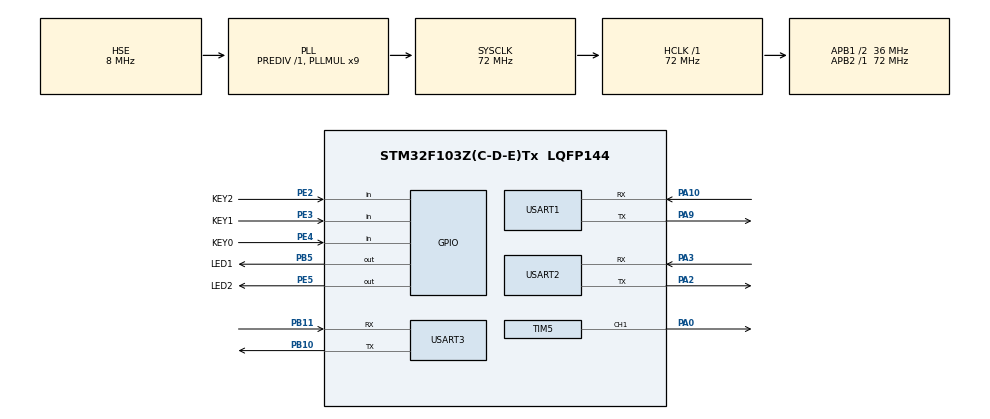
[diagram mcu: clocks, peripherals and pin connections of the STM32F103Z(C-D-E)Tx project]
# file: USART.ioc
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FREERTOS.Tasks01=Init_Task,2,128,Init_Function,Default,NULL,Dynamic,NULL,NULL;LED_Task,-3,128,LED_Function,Default,NULL,Dynamic,NULL,NULL;myTaskKEY,-3,128,StartTaskKEY,Default,NULL,Dynamic,NULL,NULL;myTaskPWM,-3,128,StartTaskPWM,Default,NULL,Dynamic,NULL,NULL
Mcu.Family=STM32F1
Mcu.Name=STM32F103Z(C-D-E)Tx
Mcu.Package=LQFP144
NVIC.PriorityGroup=NVIC_PRIORITYGROUP_4
NVIC.TIM1_UP_IRQn=true\:15\:0\:true\:false\:true\:false\:false\:true
NVIC.TIM3_IRQn=true\:5\:0\:true\:false\:true\:true\:true\:true
NVIC.TIM4_IRQn=true\:6\:0\:true\:false\:true\:true\:true\:true
NVIC.TIM5_IRQn=true\:5\:0\:false\:false\:true\:true\:true\:true
NVIC.TimeBase=TIM1_UP_IRQn
NVIC.TimeBaseIP=TIM1
NVIC.USART1_IRQn=true\:5\:0\:true\:false\:true\:true\:true\:true
NVIC.USART2_IRQn=true\:5\:0\:true\:false\:true\:true\:true\:true
NVIC.USART3_IRQn=true\:5\:0\:false\:false\:true\:true\:true\:true
OSC_IN.Mode=HSE-External-Oscillator
OSC_IN.Signal=RCC_OSC_IN
OSC_OUT.Mode=HSE-External-Oscillator
OSC_OUT.Signal=RCC_OSC_OUT
PA0-WKUP.Signal=S_TIM5_CH1
PA10.Mode=Asynchronous
PA10.Signal=USART1_RX
PA13.Mode=Serial_Wire
PA13.Signal=SYS_JTMS-SWDIO
PA14.Mode=Serial_Wire
PA14.Signal=SYS_JTCK-SWCLK
PA2.Mode=Asynchronous
PA2.Signal=USART2_TX
PA3.Mode=Asynchronous
PA3.Signal=USART2_RX
PA9.Mode=Asynchronous
PA9.Signal=USART1_TX
PB10.Mode=Asynchronous
PB10.Signal=USART3_TX
PB11.Mode=Asynchronous
PB11.Signal=USART3_RX
PB5.GPIO_Label=LED1
PB5.PinState=GPIO_PIN_SET
PB5.Signal=GPIO_Output
PE2.GPIO_Label=KEY2
PE2.GPIO_PuPd=GPIO_PULLUP
PE2.Signal=GPIO_Input
PE3.GPIO_Label=KEY1
PE3.GPIO_PuPd=GPIO_PULLUP
PE3.Signal=GPIO_Input
PE4.GPIO_Label=KEY0
PE4.GPIO_PuPd=GPIO_PULLUP
PE4.Signal=GPIO_Input
PE5.GPIO_Label=LED2
PE5.PinState=GPIO_PIN_SET
PE5.Signal=GPIO_Output
ProjectManager.HeapSize=0x200
ProjectManager.StackSize=0x400
ProjectManager.TargetToolchain=MDK-ARM V5.32
RCC.AHBFreq_Value=72000000
RCC.APB1CLKDivider=RCC_HCLK_DIV2
RCC.APB1Freq_Value=36000000
RCC.APB1TimFreq_Value=72000000
RCC.APB2Freq_Value=72000000
RCC.APB2TimFreq_Value=72000000
RCC.HCLKFreq_Value=72000000
RCC.PLLMUL=RCC_PLL_MUL9
RCC.PLLSourceVirtual=RCC_PLLSOURCE_HSE
RCC.SYSCLKFreq_VALUE=72000000
RCC.SYSCLKSource=RCC_SYSCLKSOURCE_PLLCLK
RCC.USBFreq_Value=72000000
SH.S_TIM5_CH1.0=TIM5_CH1,PWM Generation1 CH1
TIM3.AutoReloadPreload=TIM_AUTORELOAD_PRELOAD_ENABLE
TIM3.Period=4999
TIM3.Prescaler=7199
TIM4.AutoReloadPreload=TIM_AUTORELOAD_PRELOAD_ENABLE
TIM4.Period=9999
TIM4.Prescaler=7199
TIM5.AutoReloadPreload=TIM_AUTORELOAD_PRELOAD_ENABLE
TIM5.Channel-PWM\ Generation1\ CH1=TIM_CHANNEL_1
TIM5.OCFastMode_PWM-PWM\ Generation1\ CH1=TIM_OCFAST_DISABLE
TIM5.OCPolarity_1=TIM_OCPOLARITY_LOW
TIM5.Period=500-1
TIM5.Prescaler=72-1
USART1.VirtualMode=VM_ASYNC
USART2.VirtualMode=VM_ASYNC
USART3.VirtualMode=VM_ASYNC
VP_FREERTOS_VS_CMSIS_V1.Mode=CMSIS_V1
VP_SYS_VS_tim1.Mode=TIM1
VP_TIM3_VS_ClockSourceINT.Mode=Internal
VP_TIM4_VS_ClockSourceINT.Mode=Internal
VP_TIM5_VS_ClockSourceINT.Mode=Internal
board=custom

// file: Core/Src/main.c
/* USER CODE BEGIN Header */
/**
  ******************************************************************************
  * @file           : main.c
  * @brief          : Main program body
  ******************************************************************************
  * @attention
  *
  * Copyright (c) 2023 STMicroelectronics.
  * All rights reserved.
  *
  * This software is licensed under terms that can be found in the LICENSE file
  * in the root directory of this software component.
  * If no LICENSE file comes with this software, it is provided AS-IS.
  *
  ******************************************************************************
  */
/* USER CODE END Header */
#include "main.h"
#include "cmsis_os.h"
#include "tim.h"
#include "usart.h"
#include "gpio.h"

void SystemClock_Config(void);
void MX_FREERTOS_Init(void);

int main(void)
{

  /* MCU Configuration--------------------------------------------------------*/

  /* Reset of all peripherals, Initializes the Flash interface and the Systick. */
  HAL_Init();

  /* Configure the system clock */
  SystemClock_Config();

  /* Initialize all configured peripherals */
  MX_GPIO_Init();
  MX_USART1_UART_Init();
  MX_USART2_UART_Init();
  MX_USART3_UART_Init();
  MX_TIM3_Init();
  MX_TIM4_Init();
  MX_TIM5_Init();
  /* USER CODE BEGIN 2 */
	/*使能定时器3、4中断*/
    HAL_TIM_Base_Start_IT(&htim3);
    HAL_TIM_Base_Start_IT(&htim4);
	HAL_TIM_PWM_Start(&htim5,TIM_CHANNEL_1);	//使能TIM1的PWM Channel1 输出
  /* USER CODE END 2 */

  /* Call init function for freertos objects (in freertos.c) */
  MX_FREERTOS_Init();
  /* Start scheduler */
  osKernelStart();

  /* We should never get here as control is now taken by the scheduler */
  /* Infinite loop */
  while (1)
  {

  }
}

void SystemClock_Config(void)
{
  RCC_OscInitTypeDef RCC_OscInitStruct = {0};
  RCC_ClkInitTypeDef RCC_ClkInitStruct = {0};

  /** Initializes the RCC Oscillators according to the specified parameters
  * in the RCC_OscInitTypeDef structure.
  */
  RCC_OscInitStruct.OscillatorType = RCC_OSCILLATORTYPE_HSE;
  RCC_OscInitStruct.HSEState = RCC_HSE_ON;
  RCC_OscInitStruct.HSEPredivValue = RCC_HSE_PREDIV_DIV1;
  RCC_OscInitStruct.HSIState = RCC_HSI_ON;
  RCC_OscInitStruct.PLL.PLLState = RCC_PLL_ON;
  RCC_OscInitStruct.PLL.PLLSource = RCC_PLLSOURCE_HSE;
  RCC_OscInitStruct.PLL.PLLMUL = RCC_PLL_MUL9;
  if (HAL_RCC_OscConfig(&RCC_OscInitStruct) != HAL_OK)
  {
    Error_Handler();
  }
  /** Initializes the CPU, AHB and APB buses clocks
  */
  RCC_ClkInitStruct.ClockType = RCC_CLOCKTYPE_HCLK|RCC_CLOCKTYPE_SYSCLK
                              |RCC_CLOCKTYPE_PCLK1|RCC_CLOCKTYPE_PCLK2;
  RCC_ClkInitStruct.SYSCLKSource = RCC_SYSCLKSOURCE_PLLCLK;
  RCC_ClkInitStruct.AHBCLKDivider = RCC_SYSCLK_DIV1;
  RCC_ClkInitStruct.APB1CLKDivider = RCC_HCLK_DIV2;
  RCC_ClkInitStruct.APB2CLKDivider = RCC_HCLK_DIV1;

  if (HAL_RCC_ClockConfig(&RCC_ClkInitStruct, FLASH_LATENCY_2) != HAL_OK)
  {
    Error_Handler();
  }
}

void HAL_TIM_PeriodElapsedCallback(TIM_HandleTypeDef *htim)
{
  if (htim->Instance == TIM1) {
    HAL_IncTick();
  }
  /* USER CODE BEGIN Callback 1 */
  if (htim->Instance == TIM3)
  {
	 u1_printf("time3\r\n");
  }

  if (htim->Instance == TIM4)
  {
	 u1_printf("time4\r\n");
  }
  /* USER CODE END Callback 1 */
}

void Error_Handler(void)
{
  __disable_irq();
  while (1)
  {
  }
}

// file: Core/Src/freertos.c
/* USER CODE BEGIN Header */
/**
  ******************************************************************************
  * File Name          : freertos.c
  * Description        : Code for freertos applications
  ******************************************************************************
  * @attention
  *
  * Copyright (c) 2023 STMicroelectronics.
  * All rights reserved.
  *
  * This software is licensed under terms that can be found in the LICENSE file
  * in the root directory of this software component.
  * If no LICENSE file comes with this software, it is provided AS-IS.
  *
  ******************************************************************************
  */
/* USER CODE END Header */

#include "FreeRTOS.h"
#include "task.h"
#include "main.h"
#include "cmsis_os.h"

/* USER CODE BEGIN Variables */
uint16_t pwm_value=0;   //PWM占空比
/* USER CODE END Variables */
osThreadId Init_TaskHandle;
osThreadId LED_TaskHandle;
osThreadId myTaskKEYHandle;
osThreadId myTaskPWMHandle;

void Init_Function(void const * argument);
void LED_Function(void const * argument);
void StartTaskKEY(void const * argument);
void StartTaskPWM(void const * argument);

void MX_FREERTOS_Init(void); /* (MISRA C 2004 rule 8.1) */

/* GetIdleTaskMemory prototype (linked to static allocation support) */
void vApplicationGetIdleTaskMemory( StaticTask_t **ppxIdleTaskTCBBuffer, StackType_t **ppxIdleTaskStackBuffer, uint32_t *pulIdleTaskStackSize );

/* USER CODE BEGIN GET_IDLE_TASK_MEMORY */
static StaticTask_t xIdleTaskTCBBuffer;
static StackType_t xIdleStack[configMINIMAL_STACK_SIZE];

void vApplicationGetIdleTaskMemory( StaticTask_t **ppxIdleTaskTCBBuffer, StackType_t **ppxIdleTaskStackBuffer, uint32_t *pulIdleTaskStackSize )
{
  *ppxIdleTaskTCBBuffer = &xIdleTaskTCBBuffer;
  *ppxIdleTaskStackBuffer = &xIdleStack[0];
  *pulIdleTaskStackSize = configMINIMAL_STACK_SIZE;
  /* place for user code */
}
/* USER CODE END GET_IDLE_TASK_MEMORY */

void MX_FREERTOS_Init(void) {

  /* Create the thread(s) */
  /* definition and creation of Init_Task */
  osThreadDef(Init_Task, Init_Function, osPriorityHigh, 0, 128);
  Init_TaskHandle = osThreadCreate(osThread(Init_Task), NULL);

  /* definition and creation of LED_Task */
  osThreadDef(LED_Task, LED_Function, osPriorityIdle, 0, 128);
  LED_TaskHandle = osThreadCreate(osThread(LED_Task), NULL);

  /* definition and creation of myTaskKEY */
  osThreadDef(myTaskKEY, StartTaskKEY, osPriorityIdle, 0, 128);
  myTaskKEYHandle = osThreadCreate(osThread(myTaskKEY), NULL);

  /* definition and creation of myTaskPWM */
  osThreadDef(myTaskPWM, StartTaskPWM, osPriorityIdle, 0, 128);
  myTaskPWMHandle = osThreadCreate(osThread(myTaskPWM), NULL);

}

void Init_Function(void const * argument)
{
  /* USER CODE BEGIN Init_Function */
  /* Infinite loop */
  for(;;)
  {
		taskENTER_CRITICAL(); //进入临界区
		HAL_UART_Receive_IT(&huart1, (uint8_t *)&aRxBuffer, 1);   //再开启接收中断

		vTaskDelete(NULL);
		taskEXIT_CRITICAL();            //退出临界区
  }
  /* USER CODE END Init_Function */
}

void LED_Function(void const * argument)
{
  /* USER CODE BEGIN LED_Function */
  /* Infinite loop */
  for(;;)
  {
		if(led_flag==1)
		{
			LED1=0;
			osDelay(500);
			LED1=1;
			osDelay(500);
			u1_printf("led1\r\n");
			u2_printf("22222\r\n");
			u3_printf("33333\r\n");
		}
		else if(led_flag==2)
		{
			LED2_ON();
			HAL_Delay(500);
			LED2_OFF();
			HAL_Delay(500);
			u1_printf("led2\r\n");
		}
    osDelay(1);
  }
  /* USER CODE END LED_Function */
}

void StartTaskKEY(void const * argument)
{
  /* USER CODE BEGIN StartTaskKEY */
  /* Infinite loop */
  for(;;)
  {
	  uint8_t key=KEY_Scan();
	  if(key)
	  {
		  if(key==1)
		  {
			  led_flag=1;
		  }
		  else if(key==2)
		  {
			  led_flag=2;
		  }
	  }
    osDelay(1);
  }
  /* USER CODE END StartTaskKEY */
}

void StartTaskPWM(void const * argument)
{
  /* USER CODE BEGIN StartTaskPWM */
  /* Infinite loop */
  for(;;)
  {
	  while (pwm_value < 500)
	  {
		  pwm_value++;
		  __HAL_TIM_SetCompare(&htim5, TIM_CHANNEL_1, pwm_value);    //修改比较值，修改占空比
//		  TIM1->CCR1 = pwm_value;    //与上方作用相同，直接修改寄存器
		  osDelay(1);
	  }
	  while (pwm_value)
	  {
		  pwm_value--;
		  __HAL_TIM_SetCompare(&htim5, TIM_CHANNEL_1, pwm_value);    //修改比较值，修改占空比
//		  TIM1->CCR1 = pwmVal;    	 //与上方作用相同，直接修改寄存器
		  osDelay(1);
	  }
	  osDelay(200);
    osDelay(1);
  }
  /* USER CODE END StartTaskPWM */
}
